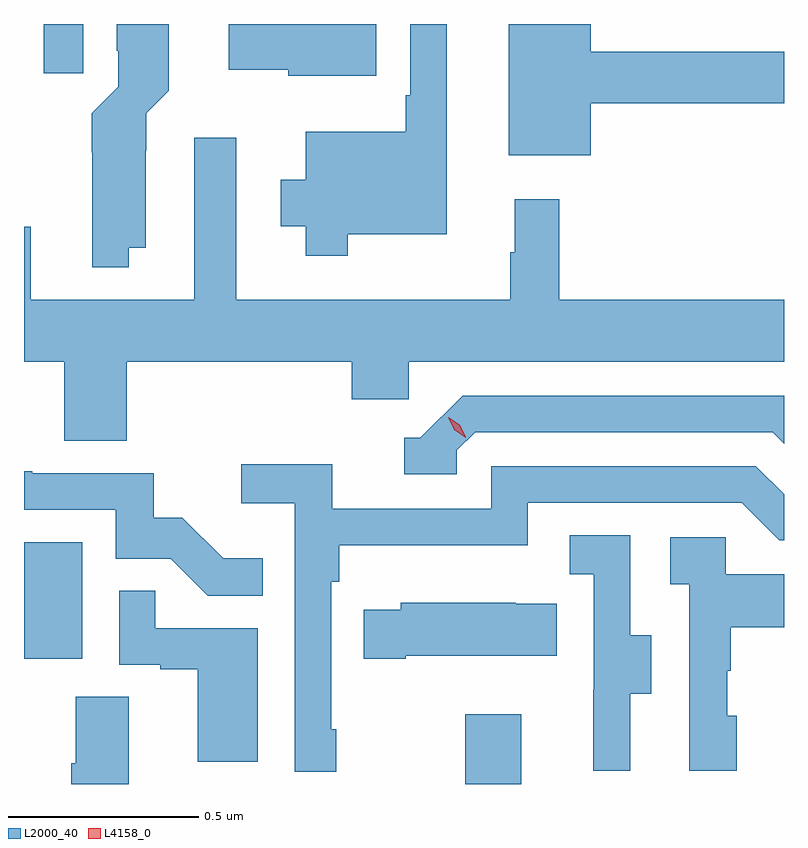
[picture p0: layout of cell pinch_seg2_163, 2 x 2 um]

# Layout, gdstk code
import gdstk
lib = gdstk.Library(unit=1e-6, precision=1e-09)
def R(c, l, rs):  # rectangles x0, y0, x1, y1
    for r in rs: c.add(gdstk.rectangle(r[:2], r[2:], *l))
def P(c, l, *ps):  # polygons
    for p in ps: c.add(gdstk.Polygon(p, *l))
L2000_40 = (2000, 40)
L4158_0 = (4158, 0)

pinch_seg2_163 = lib.new_cell('pinch_seg2_163')
R(pinch_seg2_163, L2000_40, [(1125.976,643.861,1126.123,644.044), (1124.815,644.19,1124.968,644.497), (1124.867,645.732,1124.971,645.861)])
P(pinch_seg2_163, L2000_40, [(1125.091,645.272),(1125.136,645.272),(1125.136,645.527),(1125.137,645.527),(1125.137,645.626),(1125.196,645.685),(1125.196,645.861),(1125.059,645.861),(1125.059,645.79),(1125.063,645.79),(1125.063,645.696),(1124.993,645.626),(1124.993,645.524),(1124.994,645.524),(1124.994,645.221),(1125.091,645.221)],
  [(1125.742,645.861),(1125.354,645.861),(1125.354,645.74),(1125.51,645.74),(1125.51,645.725),(1125.742,645.725)],
  [(1125.667,645.308),(1125.928,645.308),(1125.928,645.861),(1125.831,645.861),(1125.831,645.673),(1125.819,645.673),(1125.819,645.577),(1125.557,645.577),(1125.557,645.451),(1125.491,645.451),(1125.491,645.329),(1125.557,645.329),(1125.557,645.251),(1125.667,645.251)],
  [(1126.306,645.652),(1126.815,645.652),(1126.815,645.788),(1126.306,645.788),(1126.306,645.861),(1126.091,645.861),(1126.091,645.515),(1126.306,645.515)],
  [(1125.086,644.972),(1125.677,644.972),(1125.677,644.874),(1125.828,644.874),(1125.828,644.972),(1126.815,644.972),(1126.815,645.136),(1126.223,645.136),(1126.223,645.4),(1126.106,645.4),(1126.106,645.26),(1126.095,645.26),(1126.095,645.136),(1125.373,645.136),(1125.373,645.562),(1125.263,645.562),(1125.263,645.136),(1124.833,645.136),(1124.833,645.328),(1124.815,645.328),(1124.815,644.972),(1124.921,644.972),(1124.921,644.764),(1125.086,644.764)],
  [(1125.954,644.739),(1126.002,644.787),(1126.785,644.787),(1126.815,644.757),(1126.815,644.883),(1125.969,644.883),(1125.858,644.772),(1125.815,644.772),(1125.815,644.676),(1125.954,644.676)],
  [(1125.637,644.005),(1125.624,644.005),(1125.624,644.393),(1125.644,644.393),(1125.644,644.489),(1126.14,644.489),(1126.14,644.601),(1126.704,644.601),(1126.803,644.502),(1126.815,644.502),(1126.815,644.623),(1126.741,644.697),(1126.044,644.697),(1126.044,644.586),(1125.626,644.586),(1125.626,644.702),(1125.387,644.702),(1125.387,644.6),(1125.528,644.6),(1125.528,643.893),(1125.637,643.893)],
  [(1125.443,644.455),(1125.339,644.455),(1125.232,644.562),(1125.156,644.562),(1125.156,644.679),(1124.837,644.679),(1124.837,644.684),(1124.815,644.684),(1124.815,644.583),(1125.057,644.583),(1125.057,644.454),(1125.201,644.454),(1125.299,644.356),(1125.443,644.356)],
  [(1126.411,644.098),(1126.465,644.098),(1126.465,644.253),(1126.41,644.253),(1126.41,644.516),(1126.251,644.516),(1126.251,644.413),(1126.314,644.413),(1126.314,644.109),(1126.313,644.109),(1126.313,643.896),(1126.411,643.896)],
  [(1126.69,644.04),(1126.665,644.04),(1126.665,644.159),(1126.675,644.159),(1126.675,644.273),(1126.815,644.273),(1126.815,644.413),(1126.662,644.413),(1126.662,644.511),(1126.515,644.511),(1126.515,644.387),(1126.566,644.387),(1126.566,643.896),(1126.69,643.896)],
  [(1125.43,644.271),(1125.161,644.271),(1125.161,644.369),(1125.066,644.369),(1125.066,644.175),(1125.173,644.175),(1125.173,644.163),(1125.272,644.163),(1125.272,643.92),(1125.43,643.92)],
  [(1125.82,644.198),(1126.217,644.198),(1126.217,644.335),(1126.109,644.335),(1126.109,644.338),(1125.807,644.338),(1125.807,644.32),(1125.709,644.32),(1125.709,644.191),(1125.82,644.191)],
  [(1125.091,644.09),(1124.951,644.09),(1124.951,643.916),(1124.939,643.916),(1124.939,643.861),(1125.091,643.861)])
P(pinch_seg2_163, L4158_0, [(1125.978,644.772),(1125.947,644.793),(1125.932,644.826),(1125.932,644.826),(1125.932,644.826),(1125.962,644.806),(1125.978,644.773),(1125.978,644.772)])

lib.write_gds('pinch_seg2_163.gds')
